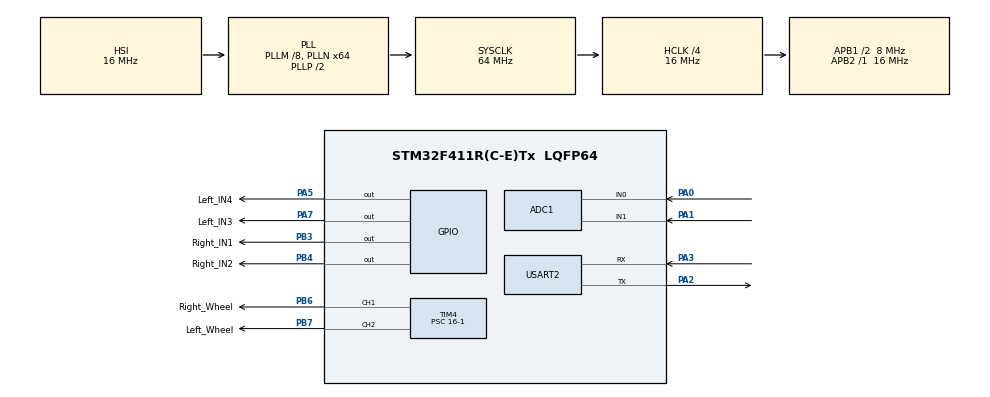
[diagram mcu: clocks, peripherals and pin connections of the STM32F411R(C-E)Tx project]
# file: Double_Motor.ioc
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ADC1.Channel-0\#ChannelRegularConversion=ADC_CHANNEL_0
ADC1.Channel-2\#ChannelRegularConversion=ADC_CHANNEL_1
ADC1.ContinuousConvMode=ENABLE
ADC1.DMAContinuousRequests=ENABLE
ADC1.InjNumberOfConversion=0
ADC1.NbrOfConversion=2
ADC1.NbrOfConversionFlag=1
ADC1.Rank-0\#ChannelRegularConversion=1
ADC1.Rank-2\#ChannelRegularConversion=2
ADC1.SamplingTime-0\#ChannelRegularConversion=ADC_SAMPLETIME_480CYCLES
ADC1.SamplingTime-2\#ChannelRegularConversion=ADC_SAMPLETIME_480CYCLES
ADC1.ScanConvMode=ENABLE
ADC1.master=1
Dma.ADC1.0.Direction=DMA_PERIPH_TO_MEMORY
Dma.ADC1.0.FIFOMode=DMA_FIFOMODE_DISABLE
Dma.ADC1.0.Instance=DMA2_Stream0
Dma.ADC1.0.MemDataAlignment=DMA_MDATAALIGN_WORD
Dma.ADC1.0.MemInc=DMA_MINC_ENABLE
Dma.ADC1.0.Mode=DMA_CIRCULAR
Dma.ADC1.0.PeriphDataAlignment=DMA_PDATAALIGN_WORD
Dma.ADC1.0.PeriphInc=DMA_PINC_DISABLE
Dma.ADC1.0.Priority=DMA_PRIORITY_LOW
Dma.Request0=ADC1
Mcu.Family=STM32F4
Mcu.Name=STM32F411R(C-E)Tx
Mcu.Package=LQFP64
NVIC.DMA2_Stream0_IRQn=true\:0\:0\:false\:false\:true\:false\:true\:true
NVIC.PriorityGroup=NVIC_PRIORITYGROUP_4
NVIC.USART2_IRQn=true\:0\:0\:false\:false\:true\:true\:true\:true
PA0-WKUP.Signal=ADCx_IN0
PA1.Signal=ADCx_IN1
PA2.Mode=Asynchronous
PA2.Signal=USART2_TX
PA3.Mode=Asynchronous
PA3.Signal=USART2_RX
PA5.GPIO_Label=Left_IN4
PA5.Signal=GPIO_Output
PA7.GPIO_Label=Left_IN3
PA7.Signal=GPIO_Output
PB3.GPIO_Label=Right_IN1
PB3.Signal=GPIO_Output
PB4.GPIO_Label=Right_IN2
PB4.Signal=GPIO_Output
PB6.GPIO_Label=Right_Wheel
PB6.Signal=S_TIM4_CH1
PB7.GPIO_Label=Left_Wheel
PB7.Signal=S_TIM4_CH2
ProjectManager.HeapSize=0x200
ProjectManager.StackSize=0x400
ProjectManager.TargetToolchain=STM32CubeIDE
RCC.48MHZClocksFreq_Value=32000000
RCC.AHBCLKDivider=RCC_SYSCLK_DIV4
RCC.AHBFreq_Value=16000000
RCC.APB1CLKDivider=RCC_HCLK_DIV2
RCC.APB1Freq_Value=8000000
RCC.APB1TimFreq_Value=16000000
RCC.APB2Freq_Value=16000000
RCC.APB2TimFreq_Value=16000000
RCC.CortexFreq_Value=16000000
RCC.HCLKFreq_Value=16000000
RCC.HSE_VALUE=25000000
RCC.HSI_VALUE=16000000
RCC.LSE_VALUE=32768
RCC.PLLM=8
RCC.PLLN=64
RCC.SYSCLKFreq_VALUE=64000000
RCC.SYSCLKSource=RCC_SYSCLKSOURCE_PLLCLK
RCC.VCOOutputFreq_Value=128000000
SH.ADCx_IN0.0=ADC1_IN0,IN0
SH.ADCx_IN1.0=ADC1_IN1,IN1
SH.S_TIM4_CH1.0=TIM4_CH1,PWM Generation1 CH1
SH.S_TIM4_CH2.0=TIM4_CH2,PWM Generation2 CH2
TIM4.AutoReloadPreload=TIM_AUTORELOAD_PRELOAD_DISABLE
TIM4.Channel-PWM\ Generation1\ CH1=TIM_CHANNEL_1
TIM4.Channel-PWM\ Generation2\ CH2=TIM_CHANNEL_2
TIM4.Period=10000-1
TIM4.Prescaler=16-1
USART2.VirtualMode=VM_ASYNC
VP_TIM4_VS_ClockSourceINT.Mode=Internal
board=custom

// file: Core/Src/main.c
/* USER CODE BEGIN Header */
/**
  ******************************************************************************
  * @file           : main.c
  * @brief          : Main program body
  ******************************************************************************
  * @attention
  *
  * Copyright (c) 2024 STMicroelectronics.
  * All rights reserved.
  *
  * This software is licensed under terms that can be found in the LICENSE file
  * in the root directory of this software component.
  * If no LICENSE file comes with this software, it is provided AS-IS.
  *
  ******************************************************************************
  */
/* USER CODE END Header */
#include "main.h"
#include "adc.h"
#include "dma.h"
#include "tim.h"
#include "usart.h"
#include "gpio.h"

/* USER CODE BEGIN PD */
#define X 0.97f
/* USER CODE END PD */

/* USER CODE BEGIN PV */
uint8_t rxBuffer;
uint32_t adcVal_buf[3];
uint32_t adcValfiltX;
uint32_t adcValfiltY;
/* USER CODE END PV */

void SystemClock_Config(void);

/* USER CODE BEGIN 0 */
int _write(int file, char *p, int len) {
	HAL_UART_Transmit_IT(&huart2, p, len);
	return len;
}

long map(long x, long in_min, long in_max, long out_min, long out_max) {
  return (x - in_min) * (out_max - out_min) / (in_max - in_min) + out_min;
}

uint32_t adcDataMaxMin(uint32_t data){
	if(data>4096){
		return 4096;
	}
	else if(data<10){
		return 0;
	}
	else return data;
}
/* USER CODE END 0 */

int main(void)
{

  /* MCU Configuration--------------------------------------------------------*/

  /* Reset of all peripherals, Initializes the Flash interface and the Systick. */
  HAL_Init();

  /* Configure the system clock */
  SystemClock_Config();

  /* Initialize all configured peripherals */
  MX_GPIO_Init();
  MX_DMA_Init();
  MX_TIM4_Init();
  MX_USART2_UART_Init();
  MX_ADC1_Init();
  /* USER CODE BEGIN 2 */

  HAL_UART_Receive_IT(&huart2, &rxBuffer, 1);
  HAL_ADC_Start_DMA(&hadc1, (uint32_t *)adcVal_buf, 2);

  /* USER CODE END 2 */

  /* Infinite loop */
  /* USER CODE BEGIN WHILE */
  while (1)
  {
  	HAL_GPIO_WritePin(Right_IN1_GPIO_Port, Right_IN1_Pin, GPIO_PIN_SET);
  	HAL_GPIO_WritePin(Right_IN2_GPIO_Port, Right_IN2_Pin, GPIO_PIN_RESET);
  	HAL_GPIO_WritePin(Left_IN3_GPIO_Port, Left_IN3_Pin, GPIO_PIN_RESET);
  	HAL_GPIO_WritePin(Left_IN4_GPIO_Port, Left_IN4_Pin, GPIO_PIN_SET);

  	adcValfiltX = adcValfiltX * X + adcVal_buf[0]*(1.0f - X);
  	adcValfiltY = adcValfiltY * X + adcVal_buf[1]*(1.0f - X);

//  	adcVal[0]=adcDataMaxMin(adcVal[0]);
//		adcVal[1]=adcDataMaxMin(adcVal[1]);
  	adcValfiltX=adcDataMaxMin(adcValfiltX);
		adcValfiltY=adcDataMaxMin(adcValfiltY);

//  	printf("%d,%d\n",adcValfiltX-50,adcValfiltY+40);

  	HAL_TIM_PWM_Start(&htim4, TIM_CHANNEL_1);
  	HAL_TIM_PWM_Start(&htim4, TIM_CHANNEL_2);
  	htim4.Instance->CCR1 = map(adcValfiltX,0,4096,0,9999);
  	htim4.Instance->CCR2 = map(adcValfiltY,0,4096,0,9999);

    /* USER CODE END WHILE */

  }
}

void SystemClock_Config(void)
{
  RCC_OscInitTypeDef RCC_OscInitStruct = {0};
  RCC_ClkInitTypeDef RCC_ClkInitStruct = {0};

  /** Configure the main internal regulator output voltage
  */
  __HAL_RCC_PWR_CLK_ENABLE();
  __HAL_PWR_VOLTAGESCALING_CONFIG(PWR_REGULATOR_VOLTAGE_SCALE1);

  /** Initializes the RCC Oscillators according to the specified parameters
  * in the RCC_OscInitTypeDef structure.
  */
  RCC_OscInitStruct.OscillatorType = RCC_OSCILLATORTYPE_HSI;
  RCC_OscInitStruct.HSIState = RCC_HSI_ON;
  RCC_OscInitStruct.HSICalibrationValue = RCC_HSICALIBRATION_DEFAULT;
  RCC_OscInitStruct.PLL.PLLState = RCC_PLL_ON;
  RCC_OscInitStruct.PLL.PLLSource = RCC_PLLSOURCE_HSI;
  RCC_OscInitStruct.PLL.PLLM = 8;
  RCC_OscInitStruct.PLL.PLLN = 64;
  RCC_OscInitStruct.PLL.PLLP = RCC_PLLP_DIV2;
  RCC_OscInitStruct.PLL.PLLQ = 4;
  if (HAL_RCC_OscConfig(&RCC_OscInitStruct) != HAL_OK)
  {
    Error_Handler();
  }

  /** Initializes the CPU, AHB and APB buses clocks
  */
  RCC_ClkInitStruct.ClockType = RCC_CLOCKTYPE_HCLK|RCC_CLOCKTYPE_SYSCLK
                              |RCC_CLOCKTYPE_PCLK1|RCC_CLOCKTYPE_PCLK2;
  RCC_ClkInitStruct.SYSCLKSource = RCC_SYSCLKSOURCE_PLLCLK;
  RCC_ClkInitStruct.AHBCLKDivider = RCC_SYSCLK_DIV4;
  RCC_ClkInitStruct.APB1CLKDivider = RCC_HCLK_DIV2;
  RCC_ClkInitStruct.APB2CLKDivider = RCC_HCLK_DIV1;

  if (HAL_RCC_ClockConfig(&RCC_ClkInitStruct, FLASH_LATENCY_0) != HAL_OK)
  {
    Error_Handler();
  }
}

/* USER CODE BEGIN 4 */
void HAL_UART_RxCpltCallback(UART_HandleTypeDef *huart){
	HAL_UART_Receive_IT(&huart2, &rxBuffer, 1);
	HAL_UART_Transmit_IT(&huart2, &rxBuffer, 1);
}

/* USER CODE END 4 */

void Error_Handler(void)
{
  __disable_irq();
  while (1)
  {
  }
}
